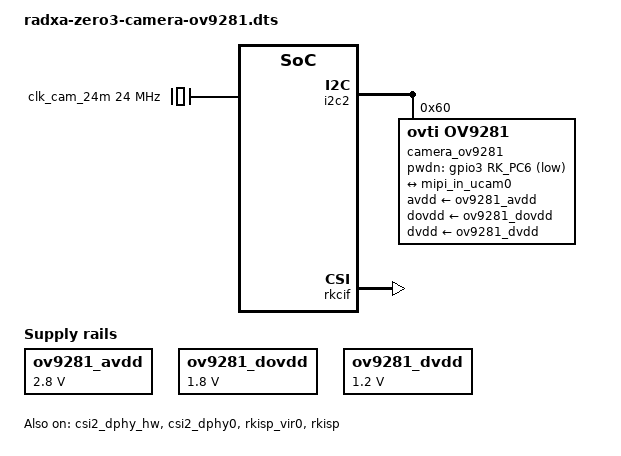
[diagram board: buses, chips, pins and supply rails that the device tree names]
/dts-v1/;
/plugin/;

#include <dt-bindings/gpio/gpio.h>
#include <dt-bindings/pinctrl/rockchip.h>

/ {
	metadata {
		title = "ov9281 from 5647";
		compatible = "radxa,zero3";
		category = "camera";
		exclusive = "csi2_dphy0";
		description = "Enable ov9281 from 5647";
	};
};

&{/} {
	clk_cam_24m: external-camera-clock-24m {
		status = "okay";
		compatible = "fixed-clock";
		clock-frequency = <24000000>;
		clock-output-names = "clk_cam_24m";
		#clock-cells = <0>;
	};

	ov9281_avdd: fixedregulator_ov9281_0 {
		compatible = "regulator-fixed";
		regulator-name = "ov9281_avdd";
		regulator-min-microvolt = <2800000>;
		regulator-max-microvolt = <2800000>;
		regulator-always-on;
		regulator-boot-on;
	};

	ov9281_dovdd: fixedregulator_ov9281_1 {
		compatible = "regulator-fixed";
		regulator-name = "ov9281_dovdd";
		regulator-min-microvolt = <1800000>;
		regulator-max-microvolt = <1800000>;
		regulator-always-on;
		regulator-boot-on;
	};

	ov9281_dvdd: fixedregulator_ov9281_2 {
		compatible = "regulator-fixed";
		regulator-name = "ov9281_dvdd";
		regulator-min-microvolt = <1200000>;
		regulator-max-microvolt = <1200000>;
		regulator-always-on;
		regulator-boot-on;
	};
};

&i2c2 {
	status = "okay";
	pinctrl-names = "default";
	pinctrl-0 = <&i2c2m1_xfer>;
	#address-cells = <1>;
	#size-cells = <0>;

	camera_ov9281: camera-ov9281@60 {
		status = "okay";
		compatible = "ovti,ov9281";
		reg = <0x60>;
		clocks = <&clk_cam_24m>;
		clock-names = "xvclk";
		pwdn-gpios = <&gpio3 RK_PC6 GPIO_ACTIVE_LOW>;
		rockchip,camera-module-index = <0>;
		rockchip,camera-module-facing = "back";
		rockchip,camera-module-name = "ov9281-camera";
		rockchip,camera-module-lens-name = "default";

		avdd-supply = <&ov9281_avdd>;
		dovdd-supply = <&ov9281_dovdd>;
		dvdd-supply = <&ov9281_dvdd>;

		port {
			ucam_out0: endpoint {
				remote-endpoint = <&mipi_in_ucam0>;
				data-lanes = <1 2>;
			};
		};
	};
};

&csi2_dphy_hw {
	status = "okay";
};

&csi2_dphy0 {
	status = "okay";

	ports {
		#address-cells = <1>;
		#size-cells = <0>;

		port@0 {
			reg = <0>;
			#address-cells = <1>;
			#size-cells = <0>;

			mipi_in_ucam0: endpoint@1 {
				reg = <1>;
				remote-endpoint = <&ucam_out0>;
				data-lanes = <1 2>;
			};
		};

		port@1 {
			reg = <1>;
			#address-cells = <1>;
			#size-cells = <0>;

			dphy0_out: endpoint@1 {
				reg = <1>;
				remote-endpoint = <&isp0_in>;
			};
		};
	};
};

&rkisp_vir0 {
	status = "okay";

	port {
		#address-cells = <1>;
		#size-cells = <0>;

		isp0_in: endpoint@0 {
			reg = <0>;
			remote-endpoint = <&dphy0_out>;
		};
	};
};

&rkisp {
	status = "okay";
};

&rkisp_mmu {
	status = "okay";
};

&rkcif_mmu {
	status = "okay";
};

&rkcif {
	status = "okay";
};
